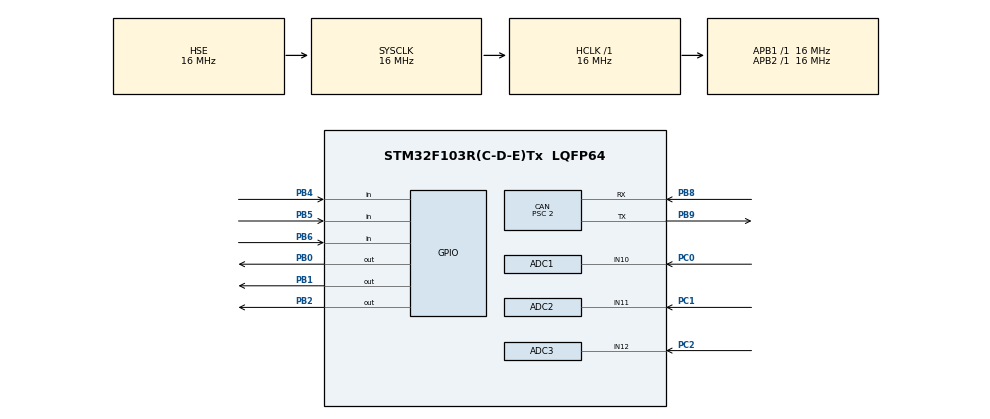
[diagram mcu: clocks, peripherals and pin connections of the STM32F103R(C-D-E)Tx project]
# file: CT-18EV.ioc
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ADC1.Channel-0\#ChannelRegularConversion=ADC_CHANNEL_10
ADC1.Mode=ADC_DUALMODE_REGSIMULT
ADC1.NbrOfConversionFlag=1
ADC1.Rank-0\#ChannelRegularConversion=1
ADC1.SamplingTime-0\#ChannelRegularConversion=ADC_SAMPLETIME_55CYCLES_5
ADC1.master=1
ADC2.Channel-0\#ChannelRegularConversion=ADC_CHANNEL_11
ADC2.Mode=ADC_DUALMODE_REGSIMULT
ADC2.NbrOfConversionFlag=1
ADC2.Rank-0\#ChannelRegularConversion=1
ADC2.SamplingTime-0\#ChannelRegularConversion=ADC_SAMPLETIME_55CYCLES_5
ADC3.Channel-0\#ChannelRegularConversion=ADC_CHANNEL_12
ADC3.NbrOfConversion=1
ADC3.NbrOfConversionFlag=1
ADC3.Rank-0\#ChannelRegularConversion=1
ADC3.SamplingTime-0\#ChannelRegularConversion=ADC_SAMPLETIME_55CYCLES_5
CAN.ABOM=ENABLE
CAN.AWUM=ENABLE
CAN.BS1=CAN_BS1_13TQ
CAN.BS2=CAN_BS2_2TQ
CAN.CalculateBaudRate=500000
CAN.CalculateTimeBit=2000
CAN.CalculateTimeQuantum=125.0
CAN.Prescaler=2
Dma.ADC1.0.Direction=DMA_PERIPH_TO_MEMORY
Dma.ADC1.0.Instance=DMA1_Channel1
Dma.ADC1.0.MemDataAlignment=DMA_MDATAALIGN_WORD
Dma.ADC1.0.MemInc=DMA_MINC_ENABLE
Dma.ADC1.0.Mode=DMA_NORMAL
Dma.ADC1.0.PeriphDataAlignment=DMA_PDATAALIGN_WORD
Dma.ADC1.0.PeriphInc=DMA_PINC_DISABLE
Dma.ADC1.0.Priority=DMA_PRIORITY_LOW
Dma.ADC3.1.Direction=DMA_PERIPH_TO_MEMORY
Dma.ADC3.1.Instance=DMA2_Channel5
Dma.ADC3.1.MemDataAlignment=DMA_MDATAALIGN_HALFWORD
Dma.ADC3.1.MemInc=DMA_MINC_ENABLE
Dma.ADC3.1.Mode=DMA_NORMAL
Dma.ADC3.1.PeriphDataAlignment=DMA_PDATAALIGN_HALFWORD
Dma.ADC3.1.PeriphInc=DMA_PINC_DISABLE
Dma.ADC3.1.Priority=DMA_PRIORITY_LOW
Dma.Request0=ADC1
Dma.Request1=ADC3
IWDG.Prescaler=IWDG_PRESCALER_32
IWDG.Reload=125
Mcu.Family=STM32F1
Mcu.Name=STM32F103R(C-D-E)Tx
Mcu.Package=LQFP64
NVIC.DMA1_Channel1_IRQn=true\:0\:0\:false\:false\:true\:false\:true\:true
NVIC.DMA2_Channel4_5_IRQn=true\:0\:0\:false\:false\:true\:false\:true\:true
NVIC.PriorityGroup=NVIC_PRIORITYGROUP_4
NVIC.TIM2_IRQn=true\:0\:0\:false\:false\:true\:true\:true\:true
NVIC.TIM3_IRQn=true\:0\:0\:false\:false\:true\:true\:true\:true
NVIC.USB_LP_CAN1_RX0_IRQn=true\:0\:0\:false\:false\:true\:true\:true\:true
PA13.Mode=Serial_Wire
PA13.Signal=SYS_JTMS-SWDIO
PA14.Mode=Serial_Wire
PA14.Signal=SYS_JTCK-SWCLK
PB0.GPIO_PuPd=GPIO_PULLDOWN
PB0.Signal=GPIO_Output
PB1.Signal=GPIO_Output
PB2.Signal=GPIO_Output
PB4.Signal=GPIO_Input
PB5.Signal=GPIO_Input
PB6.Signal=GPIO_Input
PB8.Mode=CAN_Activate
PB8.Signal=CAN_RX
PB9.Mode=CAN_Activate
PB9.Signal=CAN_TX
PC0.Signal=ADCx_IN10
PC1.Signal=ADCx_IN11
PC2.Signal=ADCx_IN12
PD0-OSC_IN.Mode=HSE-External-Oscillator
PD0-OSC_IN.Signal=RCC_OSC_IN
PD1-OSC_OUT.Mode=HSE-External-Oscillator
PD1-OSC_OUT.Signal=RCC_OSC_OUT
ProjectManager.HeapSize=0x200
ProjectManager.StackSize=0x400
ProjectManager.TargetToolchain=STM32CubeIDE
RCC.AHBFreq_Value=16000000
RCC.APB1Freq_Value=16000000
RCC.APB1TimFreq_Value=16000000
RCC.APB2Freq_Value=16000000
RCC.APB2TimFreq_Value=16000000
RCC.HCLKFreq_Value=16000000
RCC.HSE_VALUE=16000000
RCC.PLLMUL=RCC_PLL_MUL3
RCC.SYSCLKFreq_VALUE=16000000
RCC.SYSCLKSource=RCC_SYSCLKSOURCE_HSE
RCC.USBFreq_Value=12000000
SH.ADCx_IN10.0=ADC1_IN10,IN10
SH.ADCx_IN11.0=ADC2_IN11,IN11
SH.ADCx_IN12.0=ADC3_IN12,IN12
TIM2.ClockDivision=TIM_CLOCKDIVISION_DIV1
TIM2.Period=4999
TIM2.Prescaler=15
TIM3.ClockDivision=TIM_CLOCKDIVISION_DIV1
TIM3.Period=14399
TIM3.Prescaler=99
VP_IWDG_VS_IWDG.Mode=IWDG_Activate
VP_TIM2_VS_ClockSourceINT.Mode=Internal
VP_TIM3_VS_ClockSourceINT.Mode=Internal
board=custom

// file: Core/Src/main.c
/* USER CODE BEGIN Header */
/**
 ******************************************************************************
 * @file           : main.c
 * @brief          : Main program body
 ******************************************************************************
 * @attention
 *
 * Copyright (c) 2024 STMicroelectronics.
 * All rights reserved.
 *
 * This software is licensed under terms that can be found in the LICENSE file
 * in the root directory of this software component.
 * If no LICENSE file comes with this software, it is provided AS-IS.
 *
 ******************************************************************************
 */
/* USER CODE END Header */
#include "main.h"

/* USER CODE BEGIN Includes */
#include "config.h"
#include "pinout.h"
#include "app.h"
/* USER CODE END Includes */

ADC_HandleTypeDef hadc1;
ADC_HandleTypeDef hadc2;
ADC_HandleTypeDef hadc3;
DMA_HandleTypeDef hdma_adc1;
DMA_HandleTypeDef hdma_adc3;

CAN_HandleTypeDef hcan;

IWDG_HandleTypeDef hiwdg;

TIM_HandleTypeDef htim2;
TIM_HandleTypeDef htim3;

void SystemClock_Config(void);
static void MX_GPIO_Init(void);
static void MX_DMA_Init(void);
static void MX_ADC1_Init(void);
static void MX_CAN_Init(void);
static void MX_TIM2_Init(void);
static void MX_TIM3_Init(void);
static void MX_ADC2_Init(void);
static void MX_ADC3_Init(void);
static void MX_IWDG_Init(void);

/* USER CODE BEGIN 0 */
static uint8_t reset_cause = 0;

static uint8_t read_reset_cause(void) {
	uint8_t cause = 0;
	if (__HAL_RCC_GET_FLAG(RCC_FLAG_PINRST)) {
		cause |= RESET_CAUSE_PIN;
	}
	if (__HAL_RCC_GET_FLAG(RCC_FLAG_PORRST)) {
		cause |= RESET_CAUSE_POR;
	}
	if (__HAL_RCC_GET_FLAG(RCC_FLAG_SFTRST)) {
		cause |= RESET_CAUSE_SOFT;
	}
	if (__HAL_RCC_GET_FLAG(RCC_FLAG_IWDGRST)) {
		cause |= RESET_CAUSE_IWDG;
	}
	/* Flags are sticky until cleared, so the next reset reads fresh */
	__HAL_RCC_CLEAR_RESET_FLAGS();
	return cause;
}

void HAL_CAN_RxFifo0MsgPendingCallback(CAN_HandleTypeDef *hcan) {
    // Forward to C++
	HAL_CAN_RxFifo0MsgPendingCallback_Impl(hcan);
}

void HAL_TIM_PeriodElapsedCallback(TIM_HandleTypeDef *htim) {
    // Forward to C++
	HAL_TIM_PeriodElapsedCallback_Impl(htim);
}

/* USER CODE END 0 */

int main(void)
{
    /* USER CODE BEGIN 1 */
    reset_cause = read_reset_cause();
    /* USER CODE END 1 */

    /* MCU Configuration--------------------------------------------------------*/

    /* Reset of all peripherals, Initializes the Flash interface and the Systick. */
    HAL_Init();

    /* Configure the system clock */
    SystemClock_Config();

    /* Initialize all configured peripherals */
    MX_GPIO_Init();
    MX_DMA_Init();
    MX_ADC1_Init();
    MX_CAN_Init();
    MX_TIM2_Init();
    MX_TIM3_Init();
    MX_ADC2_Init();
    MX_ADC3_Init();

    /* USER CODE BEGIN 2 */
	app_init(&hcan);
    /* USER CODE END 2 */

    /* Infinite loop */
    /* USER CODE BEGIN WHILE */
    HAL_TIM_Base_Start_IT(&htim2);
    HAL_TIM_Base_Start_IT(&htim3);
    MX_IWDG_Init();

    app_start();

    while (1)
    {
    /* USER CODE END WHILE */

    /* USER CODE BEGIN 3 */
        app_step(&hiwdg, reset_cause);
    }
    /* USER CODE END 3 */
}

void SystemClock_Config(void)
{
  RCC_OscInitTypeDef RCC_OscInitStruct = {0};
  RCC_ClkInitTypeDef RCC_ClkInitStruct = {0};
  RCC_PeriphCLKInitTypeDef PeriphClkInit = {0};

  /** Initializes the RCC Oscillators according to the specified parameters
  * in the RCC_OscInitTypeDef structure.
  */
  RCC_OscInitStruct.OscillatorType = RCC_OSCILLATORTYPE_LSI|RCC_OSCILLATORTYPE_HSE;
  RCC_OscInitStruct.HSEState = RCC_HSE_ON;
  RCC_OscInitStruct.LSIState = RCC_LSI_ON;
  RCC_OscInitStruct.PLL.PLLState = RCC_PLL_NONE;
  if (HAL_RCC_OscConfig(&RCC_OscInitStruct) != HAL_OK)
  {
    Error_Handler();
  }

  /** Initializes the CPU, AHB and APB buses clocks
  */
  RCC_ClkInitStruct.ClockType = RCC_CLOCKTYPE_HCLK|RCC_CLOCKTYPE_SYSCLK
                              |RCC_CLOCKTYPE_PCLK1|RCC_CLOCKTYPE_PCLK2;
  RCC_ClkInitStruct.SYSCLKSource = RCC_SYSCLKSOURCE_HSE;
  RCC_ClkInitStruct.AHBCLKDivider = RCC_SYSCLK_DIV1;
  RCC_ClkInitStruct.APB1CLKDivider = RCC_HCLK_DIV1;
  RCC_ClkInitStruct.APB2CLKDivider = RCC_HCLK_DIV1;

  if (HAL_RCC_ClockConfig(&RCC_ClkInitStruct, FLASH_LATENCY_0) != HAL_OK)
  {
    Error_Handler();
  }
  PeriphClkInit.PeriphClockSelection = RCC_PERIPHCLK_ADC;
  PeriphClkInit.AdcClockSelection = RCC_ADCPCLK2_DIV2;
  if (HAL_RCCEx_PeriphCLKConfig(&PeriphClkInit) != HAL_OK)
  {
    Error_Handler();
  }
}

static void MX_ADC1_Init(void)
{

  ADC_MultiModeTypeDef multimode = {0};
  ADC_ChannelConfTypeDef sConfig = {0};

  /** Common config
  */
  hadc1.Instance = ADC1;
  hadc1.Init.ScanConvMode = ADC_SCAN_DISABLE;
  hadc1.Init.ContinuousConvMode = DISABLE;
  hadc1.Init.DiscontinuousConvMode = DISABLE;
  hadc1.Init.ExternalTrigConv = ADC_SOFTWARE_START;
  hadc1.Init.DataAlign = ADC_DATAALIGN_RIGHT;
  hadc1.Init.NbrOfConversion = 1;
  if (HAL_ADC_Init(&hadc1) != HAL_OK)
  {
    Error_Handler();
  }

  /** Configure the ADC multi-mode
  */
  multimode.Mode = ADC_DUALMODE_REGSIMULT;
  if (HAL_ADCEx_MultiModeConfigChannel(&hadc1, &multimode) != HAL_OK)
  {
    Error_Handler();
  }

  /** Configure Regular Channel
  */
  sConfig.Channel = ADC_CHANNEL_10;
  sConfig.Rank = ADC_REGULAR_RANK_1;
  sConfig.SamplingTime = ADC_SAMPLETIME_55CYCLES_5;
  if (HAL_ADC_ConfigChannel(&hadc1, &sConfig) != HAL_OK)
  {
    Error_Handler();
  }

}

static void MX_ADC2_Init(void)
{

  ADC_ChannelConfTypeDef sConfig = {0};

  /** Common config
  */
  hadc2.Instance = ADC2;
  hadc2.Init.ScanConvMode = ADC_SCAN_DISABLE;
  hadc2.Init.ContinuousConvMode = DISABLE;
  hadc2.Init.DiscontinuousConvMode = DISABLE;
  hadc2.Init.ExternalTrigConv = ADC_SOFTWARE_START;
  hadc2.Init.DataAlign = ADC_DATAALIGN_RIGHT;
  hadc2.Init.NbrOfConversion = 1;
  if (HAL_ADC_Init(&hadc2) != HAL_OK)
  {
    Error_Handler();
  }

  /** Configure Regular Channel
  */
  sConfig.Channel = ADC_CHANNEL_11;
  sConfig.Rank = ADC_REGULAR_RANK_1;
  sConfig.SamplingTime = ADC_SAMPLETIME_55CYCLES_5;
  if (HAL_ADC_ConfigChannel(&hadc2, &sConfig) != HAL_OK)
  {
    Error_Handler();
  }

}

static void MX_ADC3_Init(void)
{

  ADC_ChannelConfTypeDef sConfig = {0};

  /** Common config
  */
  hadc3.Instance = ADC3;
  hadc3.Init.ScanConvMode = ADC_SCAN_DISABLE;
  hadc3.Init.ContinuousConvMode = DISABLE;
  hadc3.Init.DiscontinuousConvMode = DISABLE;
  hadc3.Init.ExternalTrigConv = ADC_SOFTWARE_START;
  hadc3.Init.DataAlign = ADC_DATAALIGN_RIGHT;
  hadc3.Init.NbrOfConversion = 1;
  if (HAL_ADC_Init(&hadc3) != HAL_OK)
  {
    Error_Handler();
  }

  /** Configure Regular Channel
  */
  sConfig.Channel = ADC_CHANNEL_12;
  sConfig.Rank = ADC_REGULAR_RANK_1;
  sConfig.SamplingTime = ADC_SAMPLETIME_55CYCLES_5;
  if (HAL_ADC_ConfigChannel(&hadc3, &sConfig) != HAL_OK)
  {
    Error_Handler();
  }

}

static void MX_CAN_Init(void)
{

  hcan.Instance = CAN1;
  hcan.Init.Prescaler = 2;
  hcan.Init.Mode = CAN_MODE_NORMAL;
  hcan.Init.SyncJumpWidth = CAN_SJW_1TQ;
  hcan.Init.TimeSeg1 = CAN_BS1_13TQ;
  hcan.Init.TimeSeg2 = CAN_BS2_2TQ;
  hcan.Init.TimeTriggeredMode = DISABLE;
  hcan.Init.AutoBusOff = ENABLE;
  hcan.Init.AutoWakeUp = ENABLE;
  hcan.Init.AutoRetransmission = DISABLE;
  hcan.Init.ReceiveFifoLocked = DISABLE;
  hcan.Init.TransmitFifoPriority = DISABLE;
  if (HAL_CAN_Init(&hcan) != HAL_OK)
  {
    Error_Handler();
  }

}

static void MX_IWDG_Init(void)
{

  /* USER CODE BEGIN IWDG_Init 1 */
	/* LSI 40 kHz / 32 * 125 = 100 ms, 67-133 ms over LSI tolerance */
	/* Hold the dog while the debugger has the core halted */
	__HAL_DBGMCU_FREEZE_IWDG();
  /* USER CODE END IWDG_Init 1 */
  hiwdg.Instance = IWDG;
  hiwdg.Init.Prescaler = IWDG_PRESCALER_32;
  hiwdg.Init.Reload = 125;
  if (HAL_IWDG_Init(&hiwdg) != HAL_OK)
  {
    Error_Handler();
  }

}

static void MX_TIM2_Init(void)
{

  TIM_ClockConfigTypeDef sClockSourceConfig = {0};
  TIM_MasterConfigTypeDef sMasterConfig = {0};

  htim2.Instance = TIM2;
  htim2.Init.Prescaler = 15;
  htim2.Init.CounterMode = TIM_COUNTERMODE_UP;
  htim2.Init.Period = 4999;
  htim2.Init.ClockDivision = TIM_CLOCKDIVISION_DIV1;
  htim2.Init.AutoReloadPreload = TIM_AUTORELOAD_PRELOAD_DISABLE;
  if (HAL_TIM_Base_Init(&htim2) != HAL_OK)
  {
    Error_Handler();
  }
  sClockSourceConfig.ClockSource = TIM_CLOCKSOURCE_INTERNAL;
  if (HAL_TIM_ConfigClockSource(&htim2, &sClockSourceConfig) != HAL_OK)
  {
    Error_Handler();
  }
  sMasterConfig.MasterOutputTrigger = TIM_TRGO_RESET;
  sMasterConfig.MasterSlaveMode = TIM_MASTERSLAVEMODE_DISABLE;
  if (HAL_TIMEx_MasterConfigSynchronization(&htim2, &sMasterConfig) != HAL_OK)
  {
    Error_Handler();
  }

}

static void MX_TIM3_Init(void)
{

  TIM_ClockConfigTypeDef sClockSourceConfig = {0};
  TIM_MasterConfigTypeDef sMasterConfig = {0};

  htim3.Instance = TIM3;
  htim3.Init.Prescaler = 99;
  htim3.Init.CounterMode = TIM_COUNTERMODE_UP;
  htim3.Init.Period = 14399;
  htim3.Init.ClockDivision = TIM_CLOCKDIVISION_DIV1;
  htim3.Init.AutoReloadPreload = TIM_AUTORELOAD_PRELOAD_DISABLE;
  if (HAL_TIM_Base_Init(&htim3) != HAL_OK)
  {
    Error_Handler();
  }
  sClockSourceConfig.ClockSource = TIM_CLOCKSOURCE_INTERNAL;
  if (HAL_TIM_ConfigClockSource(&htim3, &sClockSourceConfig) != HAL_OK)
  {
    Error_Handler();
  }
  sMasterConfig.MasterOutputTrigger = TIM_TRGO_RESET;
  sMasterConfig.MasterSlaveMode = TIM_MASTERSLAVEMODE_DISABLE;
  if (HAL_TIMEx_MasterConfigSynchronization(&htim3, &sMasterConfig) != HAL_OK)
  {
    Error_Handler();
  }

}

static void MX_DMA_Init(void)
{

  /* DMA controller clock enable */
  __HAL_RCC_DMA1_CLK_ENABLE();
  __HAL_RCC_DMA2_CLK_ENABLE();

  /* DMA interrupt init */
  /* DMA1_Channel1_IRQn interrupt configuration */
  HAL_NVIC_SetPriority(DMA1_Channel1_IRQn, 0, 0);
  HAL_NVIC_EnableIRQ(DMA1_Channel1_IRQn);
  /* DMA2_Channel4_5_IRQn interrupt configuration */
  HAL_NVIC_SetPriority(DMA2_Channel4_5_IRQn, 0, 0);
  HAL_NVIC_EnableIRQ(DMA2_Channel4_5_IRQn);

}

static void MX_GPIO_Init(void)
{
    GPIO_InitTypeDef GPIO_InitStruct = {0};

    /* GPIO Ports Clock Enable */
    __HAL_RCC_GPIOD_CLK_ENABLE();
    __HAL_RCC_GPIOC_CLK_ENABLE();
    __HAL_RCC_GPIOB_CLK_ENABLE();
    __HAL_RCC_GPIOA_CLK_ENABLE();

    /*Configure GPIO pin Output Level */
    HAL_GPIO_WritePin(GPIOB, GPIO_PIN_0|GPIO_PIN_1|GPIO_PIN_2, GPIO_PIN_RESET);

    /*Configure GPIO pin : PB0 */
    GPIO_InitStruct.Pin = GPIO_PIN_0;
    GPIO_InitStruct.Mode = GPIO_MODE_OUTPUT_PP;
    GPIO_InitStruct.Pull = GPIO_PULLDOWN;
    GPIO_InitStruct.Speed = GPIO_SPEED_FREQ_LOW;
    HAL_GPIO_Init(GPIOB, &GPIO_InitStruct);

    /*Configure GPIO pins : PB1 PB2 */
    GPIO_InitStruct.Pin = GPIO_PIN_1|GPIO_PIN_2;
    GPIO_InitStruct.Mode = GPIO_MODE_OUTPUT_PP;
    GPIO_InitStruct.Pull = GPIO_NOPULL;
    GPIO_InitStruct.Speed = GPIO_SPEED_FREQ_LOW;
    HAL_GPIO_Init(GPIOB, &GPIO_InitStruct);

    /*Configure GPIO pins : PB4 PB5 PB6 */
    GPIO_InitStruct.Pin = GPIO_PIN_4|GPIO_PIN_5|GPIO_PIN_6;
    GPIO_InitStruct.Mode = GPIO_MODE_INPUT;
    GPIO_InitStruct.Pull = GPIO_NOPULL;
    HAL_GPIO_Init(GPIOB, &GPIO_InitStruct);

    /* USER CODE BEGIN MX_GPIO_Init_2 */
    /* RTD button (PB14) configured here to persist across CubeMX generation */
    GPIO_InitStruct.Pin = PIN_RTD_BUTTON;
    GPIO_InitStruct.Mode = GPIO_MODE_INPUT;
    GPIO_InitStruct.Pull = PIN_RTD_BUTTON_PULL;
    HAL_GPIO_Init(PIN_RTD_BUTTON_PORT, &GPIO_InitStruct);
    /* USER CODE END MX_GPIO_Init_2 */
}

void Error_Handler(void)
{
  /* USER CODE BEGIN Error_Handler_Debug */
	__disable_irq();
	/* Inverter enable is a CAN bit, so going quiet lets its command timeout drop it */
	HAL_GPIO_WritePin(PIN_RTD_LIGHT_PORT, PIN_RTD_LIGHT, GPIO_PIN_RESET);
	HAL_GPIO_WritePin(PIN_RTD_BUZZER_PORT, PIN_RTD_BUZZER, GPIO_PIN_RESET);
	/* Retry from scratch, reported as RESET_CAUSE_SOFT on the way back up */
	NVIC_SystemReset();
  /* USER CODE END Error_Handler_Debug */
}
